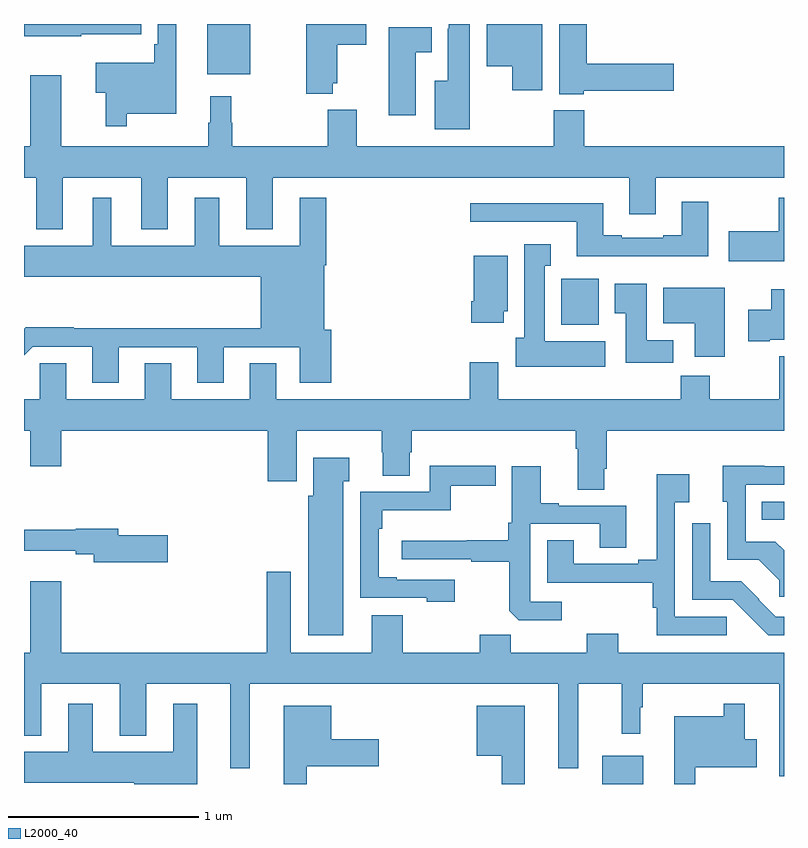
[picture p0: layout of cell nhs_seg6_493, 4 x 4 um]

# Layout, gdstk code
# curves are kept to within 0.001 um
import gdstk
lib = gdstk.Library(unit=1e-6, precision=1e-09)
def R(c, l, rs):  # rectangles x0, y0, x1, y1
    for r in rs: c.add(gdstk.rectangle(r[:2], r[2:], *l))
def P(c, l, *ps):  # polygons
    for p in ps: c.add(gdstk.Polygon(p, *l))
L2000_40 = (2000, 40)

nhs_seg6_493 = lib.new_cell('nhs_seg6_493')
R(nhs_seg6_493, L2000_40, [(144.044,921.5,144.259,921.649), (144.883,922.89,145,922.986), (143.828,923.918,144.025,924.16), (141.965,925.235,142.192,925.5)])
P(nhs_seg6_493, L2000_40, [(143.728,925.5),(143.435,925.5),(143.435,925.277),(143.57,925.277),(143.57,925.152),(143.728,925.152)],
  [(141.541,925.028),(141.802,925.028),(141.802,925.5),(141.705,925.5),(141.705,925.393),(141.685,925.393),(141.685,925.297),(141.378,925.297),(141.378,925.139),(141.43,925.139),(141.43,924.963),(141.541,924.963)],
  [(143.347,925.5),(143.235,925.5),(143.235,925.475),(143.231,925.475),(143.231,925.201),(143.162,925.201),(143.162,924.947),(143.347,924.947)],
  [(141.3,925.445),(141.616,925.445),(141.616,925.5),(141,925.5),(141,925.436),(141.3,925.436)],
  [(142.626,925.187),(142.648,925.187),(142.648,925.39),(142.801,925.39),(142.801,925.5),(142.486,925.5),(142.486,925.133),(142.626,925.133)],
  [(143.946,925.15),(144.421,925.15),(144.421,925.292),(143.963,925.292),(143.963,925.5),(143.816,925.5),(143.816,925.13),(143.946,925.13)],
  [(143.062,925.352),(143.146,925.352),(143.146,925.483),(142.919,925.483),(142.919,925.02),(143.062,925.02)],
  [(144.185,924.498),(144.325,924.498),(144.325,924.692),(145,924.692),(145,924.856),(143.948,924.856),(143.948,925.045),(143.788,925.045),(143.788,924.856),(142.75,924.856),(142.75,925.048),(142.598,925.048),(142.598,924.856),(142.097,924.856),(142.097,924.98),(142.09,924.98),(142.09,925.12),(141.98,925.12),(141.98,924.98),(141.969,924.98),(141.969,924.856),(141.196,924.856),(141.196,925.231),(141.032,925.231),(141.032,924.856),(141,924.856),(141,924.692),(141.065,924.692),(141.065,924.419),(141.205,924.419),(141.205,924.692),(141.617,924.692),(141.617,924.419),(141.757,924.419),(141.757,924.692),(142.169,924.692),(142.169,924.419),(142.309,924.419),(142.309,924.692),(144.185,924.692)],
  [(145,924.586),(144.972,924.586),(144.972,924.409),(144.708,924.409),(144.708,924.251),(145,924.251)],
  [(141.499,923.799),(141.911,923.799),(141.911,923.613),(142.051,923.613),(142.051,923.799),(142.451,923.799),(142.451,923.613),(142.616,923.613),(142.616,923.892),(142.579,923.892),(142.579,924.23),(142.592,924.23),(142.592,924.586),(142.451,924.586),(142.451,924.334),(142.027,924.334),(142.027,924.586),(141.899,924.586),(141.899,924.334),(141.46,924.334),(141.46,924.586),(141.362,924.586),(141.362,924.334),(141,924.334),(141,924.17),(142.247,924.17),(142.247,923.9),(141.263,923.9),(141.263,923.903),(141.008,923.903),(141,923.895),(141,923.757),(141.045,923.802),(141.359,923.802),(141.359,923.613),(141.499,923.613)],
  [(144.601,924.565),(144.461,924.565),(144.461,924.388),(144.365,924.388),(144.365,924.375),(144.145,924.375),(144.145,924.388),(144.049,924.388),(144.049,924.556),(143.349,924.556),(143.349,924.459),(143.909,924.459),(143.909,924.278),(144.601,924.278)],
  [(144.058,923.83),(143.74,923.83),(143.74,924.227),(143.773,924.227),(143.773,924.34),(143.633,924.34),(143.633,923.85),(143.588,923.85),(143.588,923.696),(144.058,923.696)],
  [(143.524,923.988),(143.545,923.988),(143.545,924.28),(143.366,924.28),(143.366,924.04),(143.354,924.04),(143.354,923.928),(143.524,923.928)],
  [(144.416,923.836),(144.277,923.836),(144.277,924.133),(144.11,924.133),(144.11,923.977),(144.167,923.977),(144.167,923.718),(144.416,923.718)],
  [(144.688,924.112),(144.365,924.112),(144.365,923.924),(144.53,923.924),(144.53,923.748),(144.688,923.748)],
  [(144.925,923.837),(145,923.837),(145,924.103),(144.932,924.103),(144.932,923.995),(144.813,923.995),(144.813,923.83),(144.925,923.83)],
  [(144.055,923.158),(144.068,923.158),(144.068,923.36),(145,923.36),(145,923.752),(144.976,923.752),(144.976,923.524),(144.609,923.524),(144.609,923.648),(144.457,923.648),(144.457,923.524),(143.497,923.524),(143.497,923.719),(143.345,923.719),(143.345,923.524),(142.327,923.524),(142.327,923.714),(142.187,923.714),(142.187,923.524),(141.775,923.524),(141.775,923.714),(141.635,923.714),(141.635,923.524),(141.223,923.524),(141.223,923.714),(141.084,923.714),(141.084,923.524),(141,923.524),(141,923.36),(141.032,923.36),(141.032,923.172),(141.196,923.172),(141.196,923.36),(142.283,923.36),(142.283,923.094),(142.435,923.094),(142.435,923.36),(142.882,923.36),(142.882,923.247),(142.889,923.247),(142.889,923.122),(143.029,923.122),(143.029,923.247),(143.042,923.247),(143.042,923.36),(143.903,923.36),(143.903,923.264),(143.915,923.264),(143.915,923.05),(144.055,923.05)],
  [(142.681,923.093),(142.711,923.093),(142.711,923.218),(142.523,923.218),(142.523,923.016),(142.496,923.016),(142.496,922.283),(142.681,922.283)],
  [(143.266,922.575),(142.963,922.575),(142.963,922.588),(142.866,922.588),(142.866,922.844),(142.886,922.844),(142.886,922.94),(143.245,922.94),(143.245,923.071),(143.482,923.071),(143.482,923.174),(143.136,923.174),(143.136,923.037),(142.77,923.037),(142.77,922.479),(143.121,922.479),(143.121,922.46),(143.266,922.46)],
  [(145,922.731),(144.955,922.776),(144.798,922.776),(144.798,923.076),(145,923.076),(145,923.172),(144.895,923.172),(144.895,923.174),(144.677,923.174),(144.677,922.986),(144.702,922.986),(144.702,922.68),(144.868,922.68),(144.976,922.572),(144.976,922.485),(145,922.485)],
  [(143.83,922.458),(143.664,922.458),(143.664,922.869),(144.029,922.869),(144.029,922.744),(144.169,922.744),(144.169,922.965),(143.815,922.965),(143.815,922.978),(143.719,922.978),(143.719,923.173),(143.568,923.173),(143.568,922.876),(143.548,922.876),(143.548,922.784),(143.329,922.784),(143.329,922.78),(142.989,922.78),(142.989,922.683),(143.353,922.683),(143.353,922.671),(143.553,922.671),(143.553,922.413),(143.605,922.362),(143.83,922.362)],
  [(144.699,922.38),(144.426,922.38),(144.426,922.982),(144.502,922.982),(144.502,923.131),(144.329,923.131),(144.329,922.679),(144.233,922.679),(144.233,922.659),(143.893,922.659),(143.893,922.784),(143.753,922.784),(143.753,922.558),(144.31,922.558),(144.31,922.427),(144.329,922.427),(144.329,922.284),(144.699,922.284)],
  [(145,922.38),(144.957,922.38),(144.867,922.47),(144.869,922.472),(144.775,922.566),(144.612,922.566),(144.612,922.873),(144.516,922.873),(144.516,922.47),(144.729,922.47),(144.917,922.284),(145,922.284)],
  [(141.757,922.808),(141.496,922.808),(141.496,922.844),(141.272,922.844),(141.272,922.837),(141,922.837),(141,922.727),(141.272,922.727),(141.272,922.708),(141.368,922.708),(141.368,922.666),(141.757,922.666)],
  [(144.127,922.291),(143.963,922.291),(143.963,922.192),(143.563,922.192),(143.563,922.285),(143.399,922.285),(143.399,922.192),(142.993,922.192),(142.993,922.387),(142.829,922.387),(142.829,922.192),(142.405,922.192),(142.405,922.618),(142.277,922.618),(142.277,922.192),(141.196,922.192),(141.196,922.567),(141.032,922.567),(141.032,922.192),(141,922.192),(141,921.755),(141.091,921.755),(141.091,922.028),(141.503,922.028),(141.503,921.755),(141.643,921.755),(141.643,922.028),(142.085,922.028),(142.085,921.584),(142.189,921.584),(142.189,922.028),(143.813,922.028),(143.813,921.584),(143.917,921.584),(143.917,922.028),(144.145,922.028),(144.145,921.765),(144.244,921.765),(144.244,921.905),(144.256,921.905),(144.256,922.028),(144.974,922.028),(144.974,921.823),(144.975,921.823),(144.975,921.54),(145,921.54),(145,922.192),(144.127,922.192)],
  [(141.913,921.922),(141.785,921.922),(141.785,921.67),(141.361,921.67),(141.361,921.922),(141.233,921.922),(141.233,921.67),(141,921.67),(141,921.506),(141.581,921.506),(141.581,921.5),(141.913,921.5)],
  [(144.532,921.587),(144.856,921.587),(144.856,921.735),(144.794,921.735),(144.794,921.922),(144.684,921.922),(144.684,921.856),(144.422,921.856),(144.422,921.5),(144.532,921.5)],
  [(143.635,921.913),(143.384,921.913),(143.384,921.65),(143.514,921.65),(143.514,921.5),(143.635,921.5)],
  [(142.489,921.593),(142.867,921.593),(142.867,921.735),(142.618,921.735),(142.618,921.913),(142.367,921.913),(142.367,921.5),(142.489,921.5)])

lib.write_gds('nhs_seg6_493.gds')
